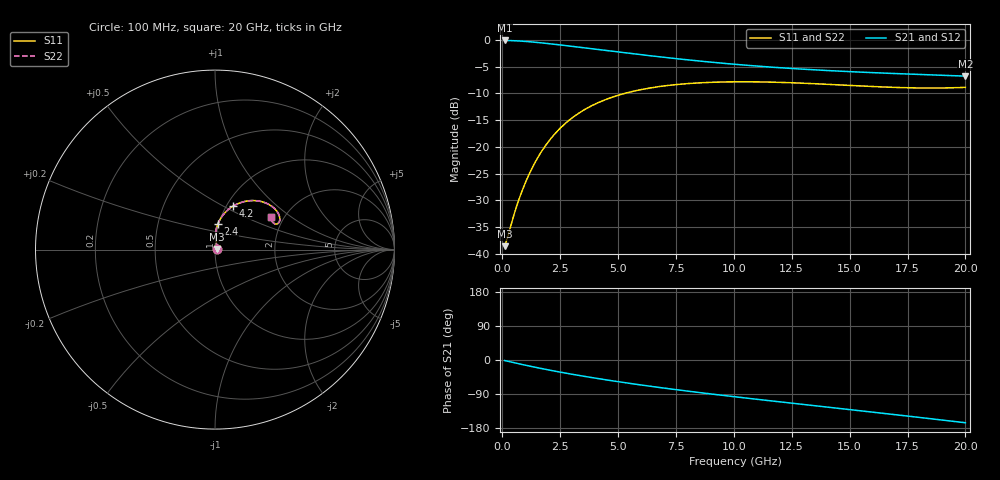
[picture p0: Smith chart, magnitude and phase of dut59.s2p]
! Created with skrf 1.9.0 (http://scikit-rf.org).
# GHz S RI R 50.0
!freq ReS11 ImS11 ReS21 ImS21 ReS12 ImS12 ReS22 ImS22
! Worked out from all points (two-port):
!   200 points, 100 MHz to 20 GHz, reference 50 ohm
!   highest |S21| = -0.10 dB at 100 MHz (marker M1); lowest = -6.8 dB at 20 GHz (marker M2)
!   |S21| within 3 dB of the highest: start of sweep to 6.67 GHz
!   lowest |S11| = -38.6 dB at 100 MHz (marker M3), VSWR 1.02, Z = 51.1 + j0.421 ohm
!   |S11| at or under -10 dB: start of sweep to 5.287 GHz
!   |S22| runs from -38.6 to -7.8 dB; largest |S21 - S12| = 1.9e-15
!   S11 on the Smith chart (normalised r, x): 100 MHz: 1.02, +0.01; 2.4 GHz: 0.99, +0.29; 4.2 GHz: 1.07, +0.56; 20 GHz: 1.71, +0.72
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0.1  0.011 0.00412  0.9883 -0.0244  0.9883 -0.0244  0.011 0.00412
0.2  0.0109 0.00823  0.9867 -0.0486  0.9867 -0.0486  0.0109 0.00823
0.5  0.00936 0.0211  0.9759 -0.1198  0.9759 -0.1198  0.00936 0.0211
0.7  0.00777 0.0304  0.9642 -0.1655  0.9642 -0.1655  0.00777 0.0304
1.1  0.00438 0.0518  0.9316 -0.251  0.9316 -0.251  0.00438 0.0518
1.4  0.00297 0.0705  0.9007 -0.309  0.9007 -0.309  0.00297 0.0705
1.7  0.00353 0.0909  0.8659 -0.3616  0.8659 -0.3616  0.00353 0.0909
2  0.00666 0.1123  0.8282 -0.4087  0.8282 -0.4087  0.00666 0.1123
2.4  0.0152 0.1412  0.7749 -0.4636  0.7749 -0.4636  0.0152 0.1412
2.9  0.0325 0.1755  0.7058 -0.5205  0.7058 -0.5205  0.0325 0.1755
3.5  0.0611 0.211  0.6216 -0.5737  0.6216 -0.5737  0.0611 0.211
4.2  0.1011 0.2422  0.5246 -0.6179  0.5246 -0.6179  0.1011 0.2422
5.4  0.1739 0.2698  0.3679 -0.6578  0.3679 -0.6578  0.1739 0.2698
6.8  0.2487 0.2697  0.2071 -0.6632  0.2071 -0.6632  0.2487 0.2697
8.4  0.3102 0.2455  0.0543 -0.6359  0.0543 -0.6359  0.3102 0.2455
10.1  0.3472 0.2104  -0.0764 -0.5854  -0.0764 -0.5854  0.3472 0.2104
11.7  0.3604 0.1793  -0.1763 -0.5264  -0.1763 -0.5264  0.3604 0.1793
13.4  0.3583 0.1551  -0.2633 -0.4557  -0.2633 -0.4557  0.3583 0.1551
15.1  0.3461 0.1433  -0.334 -0.3776  -0.334 -0.3776  0.3461 0.1433
16.7  0.3311 0.1447  -0.3862 -0.2972  -0.3862 -0.2972  0.3311 0.1447
18.4  0.3173 0.1589  -0.4251 -0.2053  -0.4251 -0.2053  0.3173 0.1589
20  0.311 0.1815  -0.4443 -0.1146  -0.4443 -0.1146  0.311 0.1815
